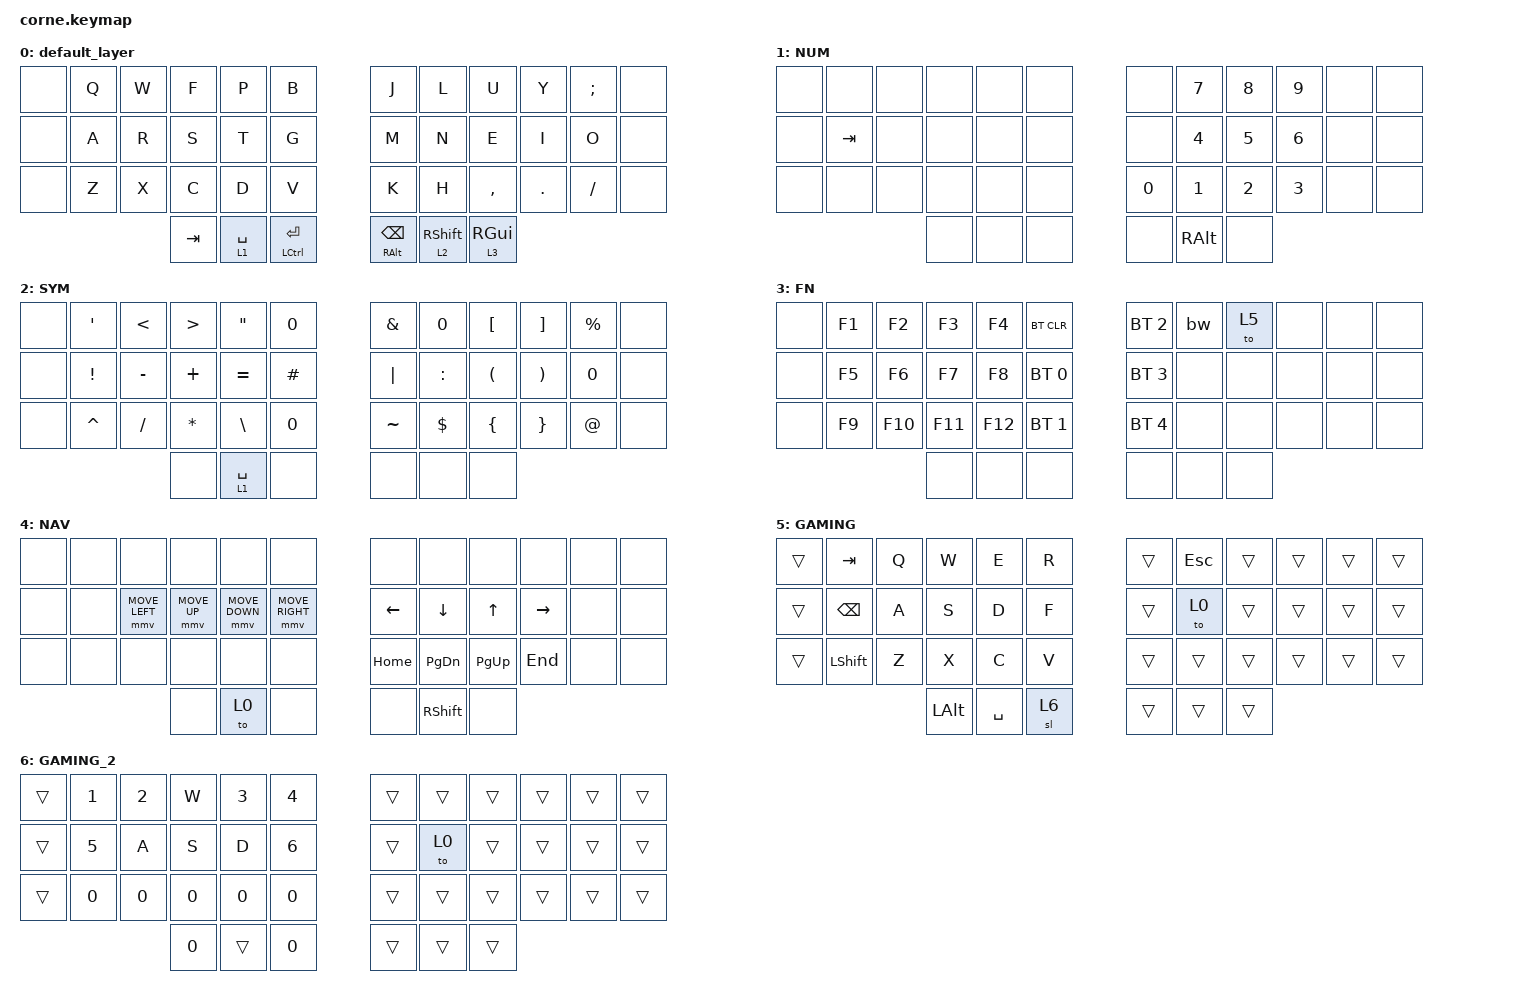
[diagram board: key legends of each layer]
/*
 * Copyright (c) 2020 The ZMK Contributors
 *
 * SPDX-License-Identifier: MIT
 */

#include <behaviors.dtsi>
#include <dt-bindings/zmk/mouse.h>
#include <dt-bindings/zmk/keys.h>
#include <dt-bindings/zmk/bt.h>

/ {
    behaviors {
        lt_sk: lt_sk {
            compatible = "zmk,behavior-hold-tap";
            label = "LT_SK";
            bindings =
                <&mo>,
                <&sk>;

            #binding-cells = <2>;
            flavor = "balanced";
            tapping-term-ms = <200>;
        };
    };

    combos {
        compatible = "zmk,combos";

        lalt_combo {
            bindings = <&sk LS(LC(LALT))>;
            key-positions = <16 19>;
        };

        layer0_combo {
            bindings = <&to 4>;
            key-positions = <37 40>;
        };

        esc_combo {
            bindings = <&kp ESC>;
            key-positions = <2 3>;
            layers = <0 1 2 3 4>;
        };

        del_combo {
            bindings = <&kp DEL>;
            key-positions = <8 9>;
        };
    };

    macros {
        bw: bw {
            compatible = "zmk,behavior-macro";
            label = "BW";
            #binding-cells = <0>;
            bindings = <&kp N &kp I &kp T &kp R &kp O &kp G &kp A &kp T &kp O &kp N4 &kp R &kp L &kp E &kp A &kp D &kp MINUS &kp E &kp R &kp LS(M) &kp R &kp DOT &kp B &kp L &kp U &kp E &kp S &kp K &kp Y>;
            tap-ms = <1>;
            wait-ms = <1>;
        };
    };

    keymap {
        compatible = "zmk,keymap";

        default_layer {
            // -----------------------------------------------------------------------------------------
            // |  TAB |  Q  |  W  |  E  |  R  |  T  |   |  Y  |  U   |  I  |  O  |  P  | BKSP |
            // | CTRL |  A  |  S  |  D  |  F  |  G  |   |  H  |  J   |  K  |  L  |  ;  |  '   |
            // | SHFT |  Z  |  X  |  C  |  V  |  B  |   |  N  |  M   |  ,  |  .  |  /  | ESC  |
            //                    | GUI | LWR | SPC |   | ENT | RSE  | ALT |

            bindings = <
&none  &kp Q  &kp W    &kp F        &kp P            &kp B                 &kp J            &kp L       &kp U    &kp Y  &kp SEMI  &none
&none  &kp A  &kp R    &kp S        &kp T            &kp G                 &kp M            &kp N       &kp E    &kp I     &kp O  &none
&none  &kp Z  &kp X    &kp C        &kp D            &kp V                 &kp K            &kp H   &kp COMMA  &kp DOT  &kp FSLH  &none
                     &kp TAB  &lt 1 SPACE  &mt LCTRL ENTER    &mt RALT BACKSPACE  &lt_sk 2 RSHIFT  &lt 3 RGUI
            >;
        };

        NUM {
            bindings = <
&none    &none  &none  &none  &none  &none     &none    &kp N7  &kp N8  &kp N9  &none  &none
&none  &kp TAB  &none  &none  &none  &none     &none    &kp N4  &kp N5  &kp N6  &none  &none
&none    &none  &none  &none  &none  &none    &kp N0    &kp N1  &kp N2  &kp N3  &none  &none
                       &none  &none  &none     &none  &kp RALT   &none
            >;
        };

        SYM {
            bindings = <
&none  &kp SINGLE_QUOTE  &kp LESS_THAN  &kp GREATER_THAN  &kp DOUBLE_QUOTES     &kp 0    &kp AMPERSAND       &kp 0      &kp LEFT_BRACKET      &kp RIGHT_BRACKET  &kp PERCENT  &none
&none          &kp EXCL      &kp MINUS          &kp PLUS          &kp EQUAL  &kp HASH         &kp PIPE   &kp COLON  &kp LEFT_PARENTHESIS  &kp RIGHT_PARENTHESIS        &kp 0  &none
&none         &kp CARET      &kp SLASH      &kp ASTERISK      &kp BACKSLASH     &kp 0        &kp TILDE  &kp DOLLAR        &kp LEFT_BRACE        &kp RIGHT_BRACE       &kp AT  &none
                                                   &none        &lt 1 SPACE     &none            &none       &none                 &none
            >;
        };

        FN {
            bindings = <
&none  &kp F1   &kp F2   &kp F3   &kp F4    &bt BT_CLR    &bt BT_SEL 2    &bw  &to 5  &none  &none  &none
&none  &kp F5   &kp F6   &kp F7   &kp F8  &bt BT_SEL 0    &bt BT_SEL 3  &none  &none  &none  &none  &none
&none  &kp F9  &kp F10  &kp F11  &kp F12  &bt BT_SEL 1    &bt BT_SEL 4  &none  &none  &none  &none  &none
                          &none    &none         &none           &none  &none  &none
            >;
        };

        NAV {
            bindings = <
&none  &none           &none         &none           &none            &none       &none       &none      &none      &none  &none  &none
&none  &none  &mmv MOVE_LEFT  &mmv MOVE_UP  &mmv MOVE_DOWN  &mmv MOVE_RIGHT    &kp LEFT    &kp DOWN     &kp UP  &kp RIGHT  &none  &none
&none  &none           &none         &none           &none            &none    &kp HOME   &kp PG_DN  &kp PG_UP    &kp END  &none  &none
                                     &none           &to 0            &none       &none  &kp RSHIFT      &none
            >;
        };

        GAMING {
            bindings = <
&trans        &kp TAB  &kp Q     &kp W      &kp E  &kp R    &trans  &kp ESC  &trans  &trans  &trans  &trans
&trans  &kp BACKSPACE  &kp A     &kp S      &kp D  &kp F    &trans    &to 0  &trans  &trans  &trans  &trans
&trans     &kp LSHIFT  &kp Z     &kp X      &kp C  &kp V    &trans   &trans  &trans  &trans  &trans  &trans
                              &kp LALT  &kp SPACE  &sl 6    &trans   &trans  &trans
            >;
        };

        GAMING_2 {
            bindings = <
&trans  &kp N1  &kp N2  &kp W  &kp N3  &kp N4    &trans  &trans  &trans  &trans  &trans  &trans
&trans  &kp N5   &kp A  &kp S   &kp D  &kp N6    &trans   &to 0  &trans  &trans  &trans  &trans
&trans   &kp 0   &kp 0  &kp 0   &kp 0   &kp 0    &trans  &trans  &trans  &trans  &trans  &trans
                        &kp 0  &trans   &kp 0    &trans  &trans  &trans
            >;
        };
    };
};
